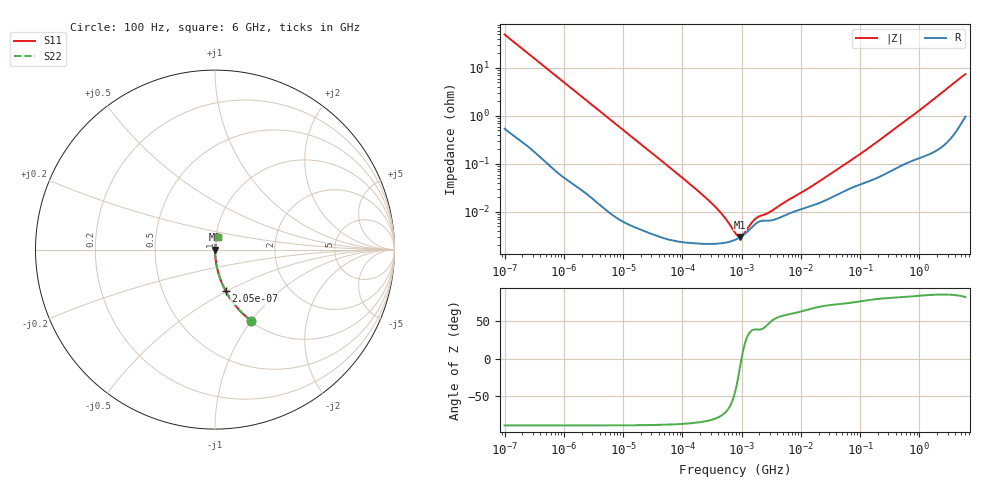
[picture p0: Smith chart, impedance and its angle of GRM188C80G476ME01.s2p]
!Murata Part Number: GRM188C80G476ME01
!These Parameters are Measured in Series Mode Connection
!Data Generated on Mar 30, 2021
!  o--ll--o
!Port1  Port2
!  o------o
!Operation Temp=25[degC], DC Bias Voltage=0[V]
!Freq. Start=100[Hz] Stop=6[GHz] 401[Steps]
# Hz S RI R 50
!Freq.(Hz) S11(Real) S11(Imag) S21(Real) S21(Imag) S12(Real) S12(Imag) S22(Real) S22(Imag)
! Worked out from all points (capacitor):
!   401 points, 100 Hz to 6 GHz, reference 50 ohm
!   read as one part in series: C = 31.9 uF near 109 Hz
!   lowest |Z| = 3.02 mohm at 926.5 kHz (marker M1)
!   series resonance near 997.9 kHz, so ESL is about 800 pH
!   S11 on the Smith chart (normalised r, x): 100 Hz: 1.01, -1.00; 205 Hz: 1.01, -0.49; 6 GHz: 1.02, +0.15
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100  0.2012 -0.3955  0.7988 0.3955  0.7988 0.3955  0.2012 -0.3955
143  0.1111 -0.3087  0.8889 0.3087  0.8889 0.3087  0.1111 -0.3087
205  0.0587 -0.2294  0.9413 0.2294  0.9413 0.2294  0.0587 -0.2294
320  0.0256 -0.1524  0.9744 0.1524  0.9744 0.1524  0.0256 -0.1524
548  0.00932 -0.091  0.9907 0.091  0.9907 0.091  0.00932 -0.091
981  0.00317 -0.0513  0.9968 0.0513  0.9968 0.0513  0.00317 -0.0513
2008  0.000921 -0.0253  0.9991 0.0253  0.9991 0.0253  0.000921 -0.0253
40335  3.22e-05 -0.00128  1 0.00128  1 0.00128  3.22e-05 -0.00128
184852  2.2e-05 -0.000272  1 0.000272  1 0.000272  2.2e-05 -0.000272
413847  2.19e-05 -0.000104  1 0.000104  1 0.000104  2.19e-05 -0.000104
473344  2.23e-05 -8.53e-05  1 8.53e-05  1 8.53e-05  2.23e-05 -8.53e-05
774597  2.62e-05 -2.64e-05  1 2.64e-05  1 2.64e-05  2.62e-05 -2.64e-05
926525  2.93e-05 -7.5e-06  1 7.5e-06  1 7.5e-06  2.93e-05 -7.5e-06
2713602  6.57e-05 6.59e-05  0.9999 -6.59e-05  0.9999 -6.59e-05  6.57e-05 6.59e-05
3103719  6.64e-05 7.74e-05  0.9999 -7.74e-05  0.9999 -7.74e-05  6.64e-05 7.74e-05
5554849  8.62e-05 0.00014  0.9999 -0.00014  0.9999 -0.00014  8.62e-05 0.00014
1.555665e7  0.000135 0.00032  0.9999 -0.00032  0.9999 -0.00032  0.000135 0.00032
9.753859e7  0.00037 0.00153  0.9996 -0.00153  0.9996 -0.00153  0.00037 0.00153
3.124326e8  0.000702 0.0044  0.9993 -0.0044  0.9993 -0.0044  0.000702 0.0044
1.791126e9  0.0023 0.0227  0.9977 -0.0227  0.9977 -0.0227  0.0023 0.0227
4.796499e9  0.00962 0.0591  0.9904 -0.0591  0.9904 -0.0591  0.00962 0.0591
6e9  0.0149 0.072  0.9851 -0.072  0.9851 -0.072  0.0149 0.072
